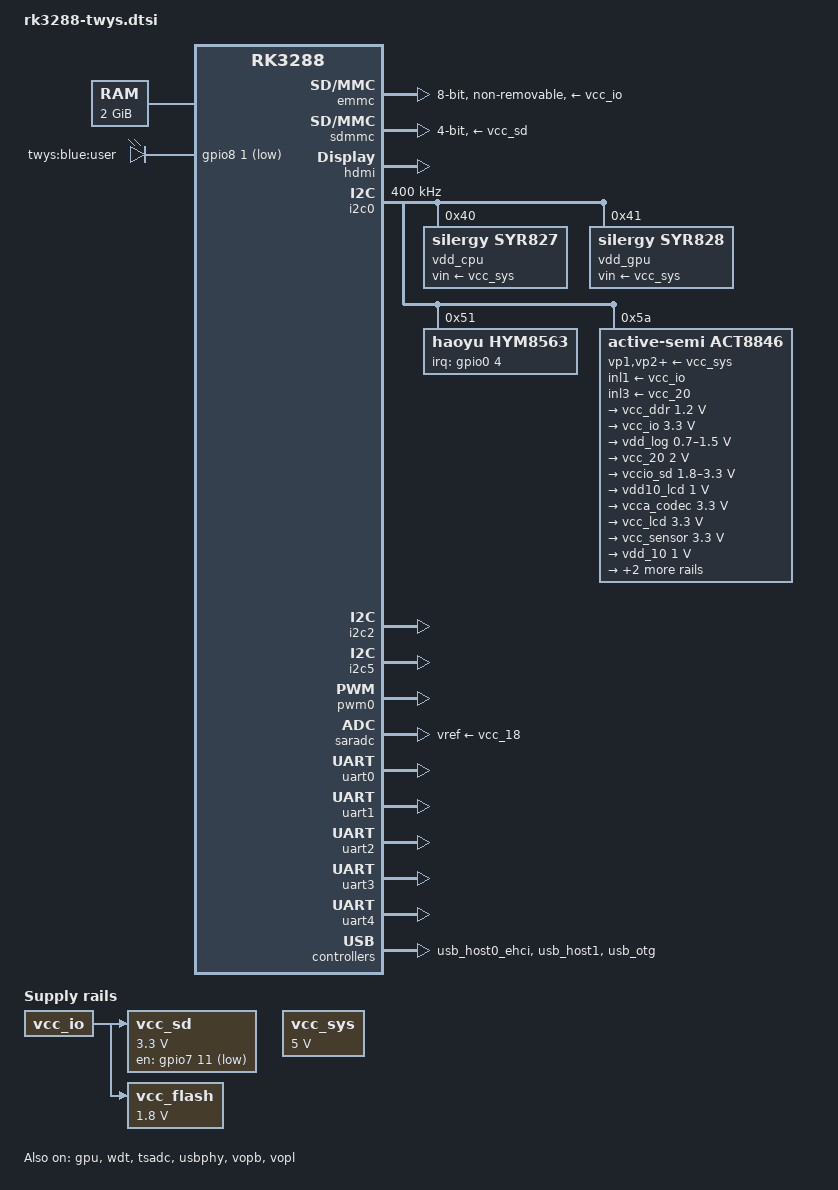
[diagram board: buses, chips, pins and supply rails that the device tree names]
/*
 * This file is dual-licensed: you can use it either under the terms
 * of the GPL or the X11 license, at your option. Note that this dual
 * licensing only applies to this file, and not this project as a
 * whole.
 *
 *  a) This file is free software; you can redistribute it and/or
 *     modify it under the terms of the GNU General Public License as
 *     published by the Free Software Foundation; either version 2 of the
 *     License, or (at your option) any later version.
 *
 *     This file is distributed in the hope that it will be useful,
 *     but WITHOUT ANY WARRANTY; without even the implied warranty of
 *     MERCHANTABILITY or FITNESS FOR A PARTICULAR PURPOSE.  See the
 *     GNU General Public License for more details.
 *
 * Or, alternatively,
 *
 *  b) Permission is hereby granted, free of charge, to any person
 *     obtaining a copy of this software and associated documentation
 *     files (the "Software"), to deal in the Software without
 *     restriction, including without limitation the rights to use,
 *     copy, modify, merge, publish, distribute, sublicense, and/or
 *     sell copies of the Software, and to permit persons to whom the
 *     Software is furnished to do so, subject to the following
 *     conditions:
 *
 *     The above copyright notice and this permission notice shall be
 *     included in all copies or substantial portions of the Software.
 *
 *     THE SOFTWARE IS PROVIDED "AS IS", WITHOUT WARRANTY OF ANY KIND,
 *     EXPRESS OR IMPLIED, INCLUDING BUT NOT LIMITED TO THE WARRANTIES
 *     OF MERCHANTABILITY, FITNESS FOR A PARTICULAR PURPOSE AND
 *     NONINFRINGEMENT. IN NO EVENT SHALL THE AUTHORS OR COPYRIGHT
 *     HOLDERS BE LIABLE FOR ANY CLAIM, DAMAGES OR OTHER LIABILITY,
 *     WHETHER IN AN ACTION OF CONTRACT, TORT OR OTHERWISE, ARISING
 *     FROM, OUT OF OR IN CONNECTION WITH THE SOFTWARE OR THE USE OR
 *     OTHER DEALINGS IN THE SOFTWARE.
 */

#include "rk3288.dtsi"

/ {
	memory {
		device_type = "memory";
		reg = <0x0 0x80000000>;
	};

	leds {
		u-boot,dm-pre-reloc;
		compatible = "gpio-leds";

		work {
			u-boot,dm-pre-reloc;
			gpios = <&gpio8 1 GPIO_ACTIVE_LOW>;
			label = "twys:blue:user";
			linux,default-trigger = "rc-feedback";
			pinctrl-names = "default";
			pinctrl-0 = <&work_led>;
		};

	};

	vcc_sys: vsys-regulator {
		compatible = "regulator-fixed";
		regulator-name = "vcc_sys";
		regulator-min-microvolt = <5000000>;
		regulator-max-microvolt = <5000000>;
		regulator-always-on;
		regulator-boot-on;
	};

	vcc_sd: sdmmc-regulator {
		compatible = "regulator-fixed";
		gpio = <&gpio7 11 GPIO_ACTIVE_LOW>;
		pinctrl-names = "default";
		pinctrl-0 = <&sdmmc_pwr>;
		regulator-name = "vcc_sd";
		regulator-min-microvolt = <3300000>;
		regulator-max-microvolt = <3300000>;
		startup-delay-us = <100000>;
		vin-supply = <&vcc_io>;
	};

	vcc_flash: flash-regulator {
		compatible = "regulator-fixed";
		regulator-name = "vcc_flash";
		regulator-min-microvolt = <1800000>;
		regulator-max-microvolt = <1800000>;
		vin-supply = <&vcc_io>;
	};
};

&cpu0 {
	cpu0-supply = <&vdd_cpu>;
};

&emmc {
	broken-cd;
	bus-width = <8>;
	cap-mmc-highspeed;
	disable-wp;
	non-removable;
	num-slots = <1>;
	pinctrl-names = "default";
	pinctrl-0 = <&emmc_clk>, <&emmc_cmd>, <&emmc_pwr>, <&emmc_bus8>;
	vmmc-supply = <&vcc_io>;
	vqmmc-supply = <&vcc_flash>;
	status = "okay";
};


&sdmmc {
	bus-width = <4>;
	cap-mmc-highspeed;
	cap-sd-highspeed;
	card-detect-delay = <200>;
	disable-wp;			/* wp not hooked up */
	num-slots = <1>;
	pinctrl-names = "default";
	pinctrl-0 = <&sdmmc_clk &sdmmc_cmd &sdmmc_cd &sdmmc_bus4>;
	status = "okay";
	supports-sd;
	vmmc-supply = <&vcc_sd>;
	vqmmc-supply = <&vccio_sd>;
};

&gpu {
	mali-supply = <&vdd_gpu>;
	status = "okay";
};

&hdmi {
	ddc-i2c-bus = <&i2c5>;
	status = "okay";
};

&i2c0 {

	status = "okay";
	clock-frequency = <400000>;

	vdd_cpu: syr827@40 {
		compatible = "silergy,syr827";
		fcs,suspend-voltage-selector = <1>;
		reg = <0x40>;
		regulator-name = "vdd_cpu";
		regulator-min-microvolt = <850000>;
		regulator-max-microvolt = <1350000>;
		regulator-always-on;
		regulator-boot-on;
		regulator-enable-ramp-delay = <300>;
		regulator-ramp-delay = <8000>;
		vin-supply = <&vcc_sys>;
	};

	vdd_gpu: syr828@41 {
		compatible = "silergy,syr828";
		fcs,suspend-voltage-selector = <1>;
		reg = <0x41>;
		regulator-name = "vdd_gpu";
		regulator-min-microvolt = <850000>;
		regulator-max-microvolt = <1350000>;
		regulator-always-on;
		regulator-ramp-delay = <6000>;
		vin-supply = <&vcc_sys>;
	};

	hym8563: hym8563@51 {
		compatible = "haoyu,hym8563";
		reg = <0x51>;

		interrupt-parent = <&gpio0>;
		interrupts = <4 IRQ_TYPE_EDGE_FALLING>;

		pinctrl-names = "default";
		pinctrl-0 = <&pmic_int>;

		#clock-cells = <0>;
		clock-output-names = "xin32k";
	};


/*
 *
 * Devices connected to i2c0
 * ---------------------------
 *   SYR827 -> CPU
 *   SYR828 -> GPU
 *   HYM8563 -> RTC
 *   ACT8836 -> PMU
 */

	act8846: act8846@5a {
		compatible = "active-semi,act8846";
		reg = <0x5a>;
		status = "okay";

		vp1-supply = <&vcc_sys>;
		vp2-supply = <&vcc_sys>;
		vp3-supply = <&vcc_sys>;
		vp4-supply = <&vcc_sys>;
		inl1-supply = <&vcc_io>;
		inl2-supply = <&vcc_sys>;
		inl3-supply = <&vcc_20>;

		regulators {
			vcc_ddr: REG1 {
				regulator-name = "VCC_DDR";
				regulator-min-microvolt = <1200000>;
				regulator-max-microvolt = <1200000>;
				regulator-always-on;
			};

			vcc_io: REG2 {
				regulator-name = "VCC_IO";
				regulator-min-microvolt = <3300000>;
				regulator-max-microvolt = <3300000>;
				regulator-always-on;
			};

			vdd_log: REG3 {
				regulator-name = "VDD_LOG";
				regulator-min-microvolt = <700000>;
				regulator-max-microvolt = <1500000>;
				regulator-always-on;
			};

			vcc_20: REG4 {
				regulator-name = "VCC_20";
				regulator-min-microvolt = <2000000>;
				regulator-max-microvolt = <2000000>;
				regulator-always-on;
			};

			vccio_sd: REG5 {
				regulator-name = "VCCIO_SD";
				regulator-min-microvolt = <1800000>;
				regulator-max-microvolt = <3300000>;
				regulator-always-on;
			};

			vdd10_lcd: REG6 {
				regulator-name = "VDD10_LCD";
				regulator-min-microvolt = <1000000>;
				regulator-max-microvolt = <1000000>;
				regulator-always-on;
			};

			vcca_codec: REG7 {
				regulator-name = "VCCA_CODEC";
				regulator-min-microvolt = <3300000>;
				regulator-max-microvolt = <3300000>;
				regulator-always-on;
			};

			vcc_lcd: REG8 {
				regulator-name = "VCC_LCD";
				regulator-min-microvolt = <3300000>;
				regulator-max-microvolt = <3300000>;
				regulator-always-on;
			};

			vcc_sensor: REG9 {
				regulator-name = "VCC_SENSOR";
				regulator-min-microvolt = <3300000>;
				regulator-max-microvolt = <3300000>;
				regulator-always-on;
			};

			vdd_10: REG10 {
				regulator-name = "VDD_10";
				regulator-min-microvolt = <1000000>;
				regulator-max-microvolt = <1000000>;
				regulator-always-on;
			};

			vcc_18: REG11 {
				regulator-name = "VCC_18";
				regulator-min-microvolt = <1800000>;
				regulator-max-microvolt = <1800000>;
				regulator-always-on;
			};

			vcc18_lcd: REG12 {
				regulator-name = "VCC18_LCD";
				regulator-min-microvolt = <1800000>;
				regulator-max-microvolt = <1800000>;
				regulator-always-on;
			};
		};
	};
};

&i2c2 {
	status = "okay";
};

&i2c5 {
	status = "okay";
};

&wdt {
	status = "okay";
};

&pwm0 {
	status = "okay";
};

&saradc {
	vref-supply = <&vcc_18>;
	status ="okay";
};

&uart0 {
	status = "okay";
};

&uart1 {
	status = "okay";
};

&uart2 {
	status = "okay";
};

&uart3 {
	status = "okay";
};

&uart4 {
	status = "okay";
};

&tsadc {
	rockchip,hw-tshut-mode = <1>; /* tshut mode 0:CRU 1:GPIO */
	rockchip,hw-tshut-polarity = <1>; /* tshut polarity 0:LOW 1:HIGH */
	status = "okay";
};

&usbphy {
	status = "okay";
};

&usb_host0_ehci {
	status = "okay";
};

&usb_host1 {
	status = "okay";
};

&usb_otg {
	status= "okay";
};

&vopb {
	status = "okay";
};

&vopb_mmu {
	status = "okay";
};

&vopl {
	status = "okay";
};

&vopl_mmu {
	status = "okay";
};

&pinctrl {
	pcfg_output_high: pcfg-output-high {
		output-high;
	};

	pcfg_output_low: pcfg-output-low {
		output-low;
	};
	
	pcfg_pull_none_drv_8ma: pcfg-pull-none-drv-8ma {
		drive-strength = <8>;
	};

	pcfg_pull_up_drv_8ma: pcfg-pull-up-drv-8ma {
		bias-pull-up;
		drive-strength = <8>;
	};

	leds {
		work_led: work-led {
			rockchip,pins = <7 3 RK_FUNC_GPIO &pcfg_pull_none>;
		};
	};

	pmic {
		pmic_int: pmic-int {
			rockchip,pins = <RK_GPIO0 4 RK_FUNC_GPIO &pcfg_pull_up>;
		};
	};

	sdmmc {
		sdmmc_pwr: sdmmc-pwr {
			rockchip,pins = <7 11 RK_FUNC_GPIO &pcfg_pull_none>;
		};
	};

	usb {
		host_vbus_drv: host-vbus-drv {
			rockchip,pins = <0 14 RK_FUNC_GPIO &pcfg_pull_none>;
		};
	};
};
